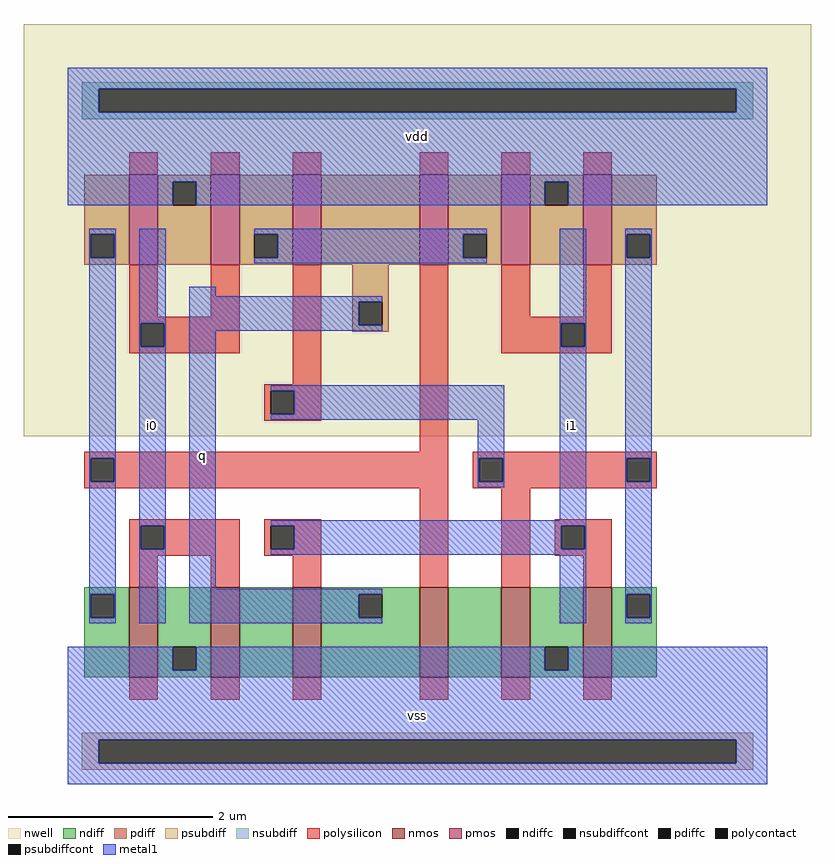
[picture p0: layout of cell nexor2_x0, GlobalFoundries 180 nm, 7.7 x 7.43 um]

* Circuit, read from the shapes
.subckt nexor2_x0 vdd vss i0 q i1
XM1 vss i0 n1 vss nfet_03v3 w=0.88u l=0.28u
XM2 n2 i0 vss vss nfet_03v3 w=0.88u l=0.28u
XM3 q i1 n2 vss nfet_03v3 w=0.88u l=0.28u
XM4 n3 n1 q vss nfet_03v3 w=0.88u l=0.28u
XM5 vss n4 n3 vss nfet_03v3 w=0.88u l=0.28u
XM6 n4 i1 vss vss nfet_03v3 w=0.88u l=0.28u
XM7 vdd i0 n1 vdd pfet_03v3 w=0.88u l=0.28u
XM8 n5 i0 vdd vdd pfet_03v3 w=0.88u l=0.28u
XM9 q n4 n5 vdd pfet_03v3 w=0.88u l=0.28u
XM10 n5 n1 q vdd pfet_03v3 w=0.88u l=0.28u
XM11 vdd i1 n5 vdd pfet_03v3 w=0.88u l=0.28u
XM12 n4 i1 vdd vdd pfet_03v3 w=0.88u l=0.28u
.ends

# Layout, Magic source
magic
tech gf180mcuD
magscale 1 10
<< nwell >>
rect -86 680 1454 1486
<< nmos >>
rect 120 209 176 385
rect 280 209 336 385
rect 440 209 496 385
rect 688 209 744 385
rect 848 209 904 385
rect 1008 209 1064 385
<< pmos >>
rect 120 1015 176 1191
rect 280 1015 336 1191
rect 440 1015 496 1191
rect 688 1015 744 1191
rect 848 1015 904 1191
rect 1008 1015 1064 1191
<< ndiff >>
rect 32 371 120 385
rect 32 325 45 371
rect 91 325 120 371
rect 32 209 120 325
rect 176 268 280 385
rect 176 222 205 268
rect 251 222 280 268
rect 176 209 280 222
rect 336 209 440 385
rect 496 371 688 385
rect 496 325 569 371
rect 615 325 688 371
rect 496 209 688 325
rect 744 209 848 385
rect 904 268 1008 385
rect 904 222 933 268
rect 979 222 1008 268
rect 904 209 1008 222
rect 1064 371 1152 385
rect 1064 325 1093 371
rect 1139 325 1152 371
rect 1064 209 1152 325
<< pdiff >>
rect 32 1075 120 1191
rect 32 1029 45 1075
rect 91 1029 120 1075
rect 32 1015 120 1029
rect 176 1178 280 1191
rect 176 1132 205 1178
rect 251 1132 280 1178
rect 176 1015 280 1132
rect 336 1075 440 1191
rect 336 1029 365 1075
rect 411 1029 440 1075
rect 336 1015 440 1029
rect 496 1015 688 1191
rect 744 1075 848 1191
rect 744 1029 773 1075
rect 819 1029 848 1075
rect 744 1015 848 1029
rect 904 1178 1008 1191
rect 904 1132 933 1178
rect 979 1132 1008 1178
rect 904 1015 1008 1132
rect 1064 1075 1152 1191
rect 1064 1029 1093 1075
rect 1139 1029 1152 1075
rect 1064 1015 1152 1029
rect 556 943 628 1015
rect 556 897 569 943
rect 615 897 628 943
rect 556 884 628 897
<< ndiffc >>
rect 45 325 91 371
rect 205 222 251 268
rect 569 325 615 371
rect 933 222 979 268
rect 1093 325 1139 371
<< pdiffc >>
rect 45 1029 91 1075
rect 205 1132 251 1178
rect 365 1029 411 1075
rect 773 1029 819 1075
rect 933 1132 979 1178
rect 1093 1029 1139 1075
rect 569 897 615 943
<< psubdiff >>
rect 28 87 1340 100
rect 28 41 61 87
rect 1307 41 1340 87
rect 28 28 1340 41
<< nsubdiff >>
rect 28 1359 1340 1372
rect 28 1313 61 1359
rect 1307 1313 1340 1359
rect 28 1300 1340 1313
<< psubdiffcont >>
rect 61 41 1307 87
<< nsubdiffcont >>
rect 61 1313 1307 1359
<< polysilicon >>
rect 120 1191 176 1235
rect 280 1191 336 1235
rect 440 1191 496 1235
rect 688 1191 744 1235
rect 848 1191 904 1235
rect 1008 1191 1064 1235
rect 120 914 176 1015
rect 280 914 336 1015
rect 120 901 336 914
rect 120 855 143 901
rect 189 855 336 901
rect 120 842 336 855
rect 440 782 496 1015
rect 384 769 496 782
rect 384 723 397 769
rect 443 723 496 769
rect 384 710 496 723
rect 688 650 744 1015
rect 848 914 904 1015
rect 1008 914 1064 1015
rect 848 901 1064 914
rect 848 855 965 901
rect 1011 855 1064 901
rect 848 842 1064 855
rect 32 637 744 650
rect 32 591 45 637
rect 91 591 744 637
rect 32 578 744 591
rect 792 637 1152 650
rect 792 591 805 637
rect 851 591 1093 637
rect 1139 591 1152 637
rect 792 578 1152 591
rect 120 505 336 518
rect 120 459 143 505
rect 189 459 336 505
rect 120 446 336 459
rect 384 505 496 518
rect 384 459 397 505
rect 443 459 496 505
rect 384 446 496 459
rect 120 385 176 446
rect 280 385 336 446
rect 440 385 496 446
rect 688 385 744 578
rect 848 385 904 578
rect 952 505 1064 518
rect 952 459 965 505
rect 1011 459 1064 505
rect 952 446 1064 459
rect 1008 385 1064 446
rect 120 165 176 209
rect 280 165 336 209
rect 440 165 496 209
rect 688 165 744 209
rect 848 165 904 209
rect 1008 165 1064 209
<< polycontact >>
rect 143 855 189 901
rect 397 723 443 769
rect 965 855 1011 901
rect 45 591 91 637
rect 805 591 851 637
rect 1093 591 1139 637
rect 143 459 189 505
rect 397 459 443 505
rect 965 459 1011 505
<< metal1 >>
rect 0 1359 1368 1400
rect 0 1313 61 1359
rect 1307 1313 1368 1359
rect 0 1178 1368 1313
rect 0 1132 205 1178
rect 251 1132 933 1178
rect 979 1132 1368 1178
rect 42 1075 94 1086
rect 42 1029 45 1075
rect 91 1029 94 1075
rect 42 637 94 1029
rect 42 591 45 637
rect 91 591 94 637
rect 42 371 94 591
rect 42 325 45 371
rect 91 325 94 371
rect 42 314 94 325
rect 140 901 192 1086
rect 365 1075 819 1086
rect 411 1029 773 1075
rect 365 1018 819 1029
rect 140 855 143 901
rect 189 855 192 901
rect 140 505 192 855
rect 140 459 143 505
rect 189 459 192 505
rect 140 314 192 459
rect 238 954 290 972
rect 238 943 615 954
rect 238 897 569 943
rect 238 886 615 897
rect 962 901 1014 1086
rect 238 382 290 886
rect 962 855 965 901
rect 1011 855 1014 901
rect 397 769 854 780
rect 443 723 854 769
rect 397 712 854 723
rect 802 637 854 712
rect 802 591 805 637
rect 851 591 854 637
rect 802 580 854 591
rect 962 516 1014 855
rect 397 505 1014 516
rect 443 459 965 505
rect 1011 459 1014 505
rect 397 448 1014 459
rect 238 371 615 382
rect 238 325 569 371
rect 238 314 615 325
rect 962 314 1014 448
rect 1090 1075 1142 1086
rect 1090 1029 1093 1075
rect 1139 1029 1142 1075
rect 1090 637 1142 1029
rect 1090 591 1093 637
rect 1139 591 1142 637
rect 1090 371 1142 591
rect 1090 325 1093 371
rect 1139 325 1142 371
rect 1090 314 1142 325
rect 0 222 205 268
rect 251 222 933 268
rect 979 222 1368 268
rect 0 87 1368 222
rect 0 41 61 87
rect 1307 41 1368 87
rect 0 0 1368 41
<< labels >>
rlabel metal1 s 0 1132 1368 1400 4 vdd
port 3 nsew
rlabel metal1 s 0 0 1368 268 4 vss
port 5 nsew
rlabel metal1 s 140 314 192 1086 4 i0
port 7 nsew
rlabel metal1 s 238 314 290 972 4 q
port 9 nsew
rlabel metal1 s 962 314 1014 1086 4 i1
port 11 nsew
<< end >>
